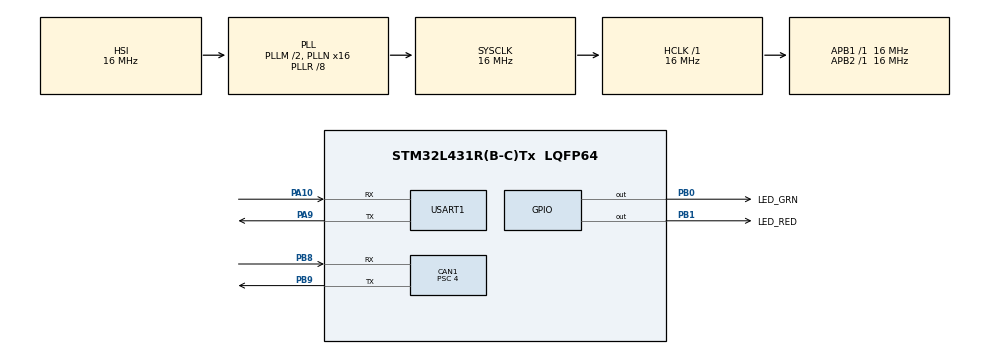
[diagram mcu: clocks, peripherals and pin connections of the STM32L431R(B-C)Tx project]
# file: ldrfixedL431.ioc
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CAN1.BS1=CAN_BS1_5TQ
CAN1.BS2=CAN_BS2_2TQ
CAN1.CalculateBaudRate=500000
CAN1.CalculateTimeBit=2000.00
CAN1.CalculateTimeQuantum=250.0
CAN1.NART=ENABLE
CAN1.Prescaler=4
CAN1.SJW=CAN_SJW_1TQ
CRC.InputDataFormat=CRC_INPUTDATA_FORMAT_WORDS
CRC.InputDataInversionMode=CRC_INPUTDATA_INVERSION_NONE
CRC.OutputDataInversionMode=CRC_OUTPUTDATA_INVERSION_DISABLE
Mcu.Family=STM32L4
Mcu.Name=STM32L431R(B-C)Tx
Mcu.Package=LQFP64
NVIC.CAN1_RX0_IRQn=true\:5\:0\:true\:false\:true\:true\:true
NVIC.CAN1_RX1_IRQn=true\:5\:0\:true\:false\:true\:true\:true
NVIC.CAN1_TX_IRQn=true\:5\:0\:true\:false\:true\:true\:true
NVIC.PriorityGroup=NVIC_PRIORITYGROUP_4
NVIC.TIM1_UP_TIM16_IRQn=true\:0\:0\:false\:false\:true\:false\:true
NVIC.TimeBase=TIM1_UP_TIM16_IRQn
NVIC.TimeBaseIP=TIM16
NVIC.USART1_IRQn=true\:8\:0\:true\:false\:true\:true\:true
PA10.Mode=Asynchronous
PA10.Signal=USART1_RX
PA9.Mode=Asynchronous
PA9.Signal=USART1_TX
PB0.GPIO_Label=LED_GRN
PB0.PinState=GPIO_PIN_SET
PB0.Signal=GPIO_Output
PB1.GPIO_Label=LED_RED
PB1.PinState=GPIO_PIN_SET
PB1.Signal=GPIO_Output
PB8.Mode=CAN_Activate
PB8.Signal=CAN1_RX
PB9.Mode=CAN_Activate
PB9.Signal=CAN1_TX
ProjectManager.HeapSize=0x200
ProjectManager.StackSize=0x400
ProjectManager.TargetToolchain=Makefile
RCC.ADCFreq_Value=16000000
RCC.AHBFreq_Value=16000000
RCC.APB1Freq_Value=16000000
RCC.APB1TimFreq_Value=16000000
RCC.APB2Freq_Value=16000000
RCC.APB2TimFreq_Value=16000000
RCC.CortexFreq_Value=16000000
RCC.HCLKFreq_Value=16000000
RCC.HSE_VALUE=8000000
RCC.HSI48_VALUE=48000000
RCC.HSI_VALUE=16000000
RCC.I2C1CLockSelection=RCC_I2C1CLKSOURCE_SYSCLK
RCC.LSE_VALUE=32768
RCC.MSIClockRange=RCC_MSIRANGE_7
RCC.MSI_VALUE=8000000
RCC.PLLM=2
RCC.PLLN=16
RCC.PLLR=RCC_PLLR_DIV8
RCC.PLLSAI1R=RCC_PLLR_DIV4
RCC.PLLSourceVirtual=RCC_PLLSOURCE_HSI
RCC.SYSCLKFreq_VALUE=16000000
RCC.SYSCLKSource=RCC_SYSCLKSOURCE_PLLCLK
RCC.USART1CLockSelection=RCC_USART1CLKSOURCE_HSI
RCC.VCOOutputFreq_Value=128000000
TIM15.Channel-Output\ Compare1\ No\ Output=TIM_CHANNEL_1
TIM15.Prescaler=16
USART1.VirtualMode-Asynchronous=VM_ASYNC
VP_CRC_VS_CRC.Mode=CRC_Activate
VP_SYS_VS_tim16.Mode=TIM16
VP_TIM15_VS_ClockSourceINT.Mode=Internal
VP_TIM15_VS_no_output1.Mode=Output Compare1 No Output
board=custom

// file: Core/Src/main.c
/* USER CODE BEGIN Header */
/**
  ******************************************************************************
  * @file           : main.c
  * @brief          : Main program body
  ******************************************************************************
  * @attention
  *
  * <h2><center>&copy; Copyright (c) 2022 STMicroelectronics.
  * All rights reserved.</center></h2>
  *
  * This software component is licensed by ST under BSD 3-Clause license,
  * the "License"; You may not use this file except in compliance with the
  * License. You may obtain a copy of the License at:
  *                        opensource.org/licenses/BSD-3-Clause
  *
  ******************************************************************************
  */
/* USER CODE END Header */
#include "main.h"

/* USER CODE BEGIN Includes */
#include <stdio.h>
#include <string.h>
#include "DTW_counter.h"
#include "system_reset.h"
#include "morse.h"
#include "canwinch_ldrproto.h"
#include "can_iface.h"
#include "canfilter_setup.h"

#include "crc-32_hw.h"
#include "crc-32_sw.h"

#include "crc-32_nib.h"
#include "crc-32_min.h"

extern uint32_t __appbegin;

#define SYSCLOCKFREQ 16000000

/* &&&&&&&&&&&&& Each node on the CAN bus gets a unit number &&&&&&&&&&&&&&&&&&&&&&&&&& */
#include "db/gen_db.h"
#define   IAMUNITNUMBER   CANID_UNIT_BMS03  /* Fixed loader (serial number concept) */
#define   BOARDTYPE   3   /* Board type (e.g. shaft encoder, manifold pressure, tension,... */
/* &&&&&&&&&&&&&&&&&&&&&&&&&&&&&&&&&&&&&&&&&&&&&&&&&&&&&&&&&&&&&&&&&&&&&&&&&&&&&&&&&&&& */

#if 0
/* Specify msg buffer and max useage for TX, RX0, and RX1. */
const struct CAN_INIT msginit = { \
96, /* Total number of msg blocks. */\
32, /* TX can use this huge ammount. */\
16, /* RX0 can use this many. */\
8 /* RX1 can use this piddling amount. */\
};

struct CAN_CTLBLOCK* pctl1;
#endif

/* USER CODE END Includes */

/* USER CODE BEGIN PTD */
 uint32_t flashblocksize1;
 uint32_t unique_id[3];
 uint32_t can_waitdelay_ct;
 uint32_t end_flash;
 uint16_t flashsize;
 uint8_t ldr_phase;

uint64_t binchksum;
uint32_t* papp_crc;
uint32_t* papp_chk;
uint32_t waitctr;
 uint8_t apperr;

 /* Milliseconds that prevents loop in main from jumping to app. */
extern int32_t squelch_ms;
extern uint8_t squelch_flag;
extern uint32_t dtwmsnext;

unsigned int ck;
uint32_t chkctr;

 struct CAN_CTLBLOCK* pctl0; // Pointer to CAN1 control block
//struct CAN_CTLBLOCK* pctl1; // Pointer to CAN2 control block

uint32_t debugTX1b;
uint32_t debugTX1b_prev;

uint32_t debugTX1c;
uint32_t debugTX1c_prev;

/* USER CODE END PTD */

CAN_HandleTypeDef hcan1;

CRC_HandleTypeDef hcrc;

TIM_HandleTypeDef htim15;

UART_HandleTypeDef huart1;

void SystemClock_Config(void);
static void MX_GPIO_Init(void);
static void MX_CAN1_Init(void);
static void MX_USART1_UART_Init(void);
static void MX_TIM15_Init(void);
static void MX_CRC_Init(void);
/* USER CODE BEGIN PFP */
char* buffer = "\n\rX ldrfixedL431 started 123";
/* USER CODE END PFP */

/* USER CODE BEGIN 0 */
#ifdef __GNUC__
#define PUTCHAR_PROTOTYPE int __io_putchar(int ch)
#else
#define PUTCHAR_PROTOTYPE int fputc(int ch, FILE *f)
#endif

PUTCHAR_PROTOTYPE
{
  HAL_UART_Transmit(&huart1, (uint8_t *)&ch, 1, HAL_MAX_DELAY);
  return ch;
}
/* USER CODE END 0 */

int main(void)
{
  /* USER CODE BEGIN 1 */
   volatile uint32_t dtw; // DTW time
/* --------------------- Type of RESET detection and dispatch ------------------------------------- */
  extern void* __appjump; // Defined in ldr.ld file
  /* Check type of RESET and set us on the correct journey. */
  uint32_t rcc_csr = RCC->CSR;  // Get reset flags
  RCC->CSR |= (1 << 23); // Bit 23 RMVF: Remove reset flag (prep for next RESET)
  if (rcc_csr & (1 << 29))  // Was it Independent watchdog reset flag?
  { // Here, yes. This should be the result of a valid load process

    /* Shift vector table to new position. */
    *(uint32_t*)ADDR_SCB_VTOR = 0x8000;

    __DSB(); // Data barrier sync, JIC

    /* Jump to app. */
    (*(  (void (*)(void))__appjump)  )(); // Indirect via label in .ld file
  }
  /* Here, not the IWDG flag, so printf some stuff and wait for possible download, before app jump. */

  /* USER CODE END 1 */

  /* MCU Configuration--------------------------------------------------------*/

  /* Reset of all peripherals, Initializes the Flash interface and the Systick. */
  HAL_Init();

  /* USER CODE BEGIN Init */
  apperr = 0;
  /* USER CODE END Init */

  /* Configure the system clock */
  SystemClock_Config();

  /* Initialize all configured peripherals */
  MX_GPIO_Init();
  MX_CAN1_Init();
  MX_USART1_UART_Init();
  MX_TIM15_Init();
  MX_CRC_Init();
  /* USER CODE BEGIN 2 */
  DTW_counter_init();

  /* CAN ID for this node is passed in to make from command line. */
  unsigned int i_am_canid = I_AM_CANID;

   printf("\n\n\n\r######### ldrfixedL431 STARTS 1, 0x%0X",i_am_canid);

/* Setup TX linked list for CAN  */
   // CAN1 (CAN_HandleTypeDef *phcan, uint8_t canidx, uint16_t numtx, uint16_t numrx);
  pctl0 = can_iface_init(&hcan1, 0, 16, 512);
  if (pctl0 == NULL) morse_trap(118); // Panic LED flashing
  if (pctl0->ret < 0) morse_trap(119);

  /* Setup CAN hardware filters to default to accept all ids. */
  HAL_StatusTypeDef Cret;
  Cret = canfilter_setup_first(0, &hcan1, 15); // CAN1
  if (Cret == HAL_ERROR) morse_trap(122);

/* @brief : Add a 32b id, advance bank number & odd/even
 * @param : cannum = CAN module number 1, 2, or 3
 * @param : phcan = Pointer to HAL CAN handle (control block)
 * @param : id    = 32b CAN id
 * @param : fifo  = fifo: 0 or 1
 * @return  : HAL_ERROR or HAL_OK  */
  Cret = canfilter_setup_add32b_id(1, &hcan1, i_am_canid, 0);
  if (Cret == HAL_ERROR) morse_trap(123);

      /* Select interrupts for CAN1 */
  HAL_CAN_ActivateNotification(&hcan1, \
    CAN_IT_TX_MAILBOX_EMPTY     |  \
    CAN_IT_RX_FIFO0_MSG_PENDING |  \
    CAN_IT_RX_FIFO1_MSG_PENDING    );

  #define DTW_INC_printf (1000 * 16000) // 16 MHz sysclock
  uint32_t DTW_next_LED = DTWTIME;
  #define DTW_INC_LED (250 * 16000)
  uint32_t DTW_next_printf = DTWTIME;

  unsigned int mctr = 0;
#if 0
  printf ("\n\rControl/status register (RCC_CSR) : %08x\n\r",(unsigned int)RCC->CSR);
  RCC->CSR |= (1 << 24);
  printf ("Control/status register (RCC_CSR) : %08x After RMVF written\n\r",(unsigned int)RCC->CSR);
  RCC->CSR |= (7 << 29);
  printf ("Control/status register (RCC_CSR) : %08x After LPWR written\n\r",(unsigned int)RCC->CSR);

  //uint64_t zz1 = 0x12345678ABCDEF01; // word order
  uint64_t zz1 = 0x1122334455667788;
  //uint64_t zz = 0x01efCDab78563412;  // byte order of zz1
  uint64_t zz = 0x8877665544332211;
  uint32_t ww[2] = {0x88776655,0x44332211};
  uint32_t wwa[2] = {0x44332211,0x88776655};
  //https://crccalc.com/
  uint8_t zzb[8] = {0x11, 0x22, 0x33, 0x44, 0x55, 0x66, 0x77, 0x88};

 #define PDATA (uint32_t*)0x08008000
  #define DLEN  100000

  printf("\n\rPDATA: 0x%08X DLEN: %5d\n\r",(unsigned int)PDATA,(unsigned int)DLEN);

 CRC->CR =0x01;
 HAL_CRC_Init(&hcrc);
  uint32_t t2;
  uint32_t t1 = DTWTIME;
  uint32_t crc3 = HAL_CRC_Calculate(&hcrc, PDATA, DLEN/4);
  uint32_t t2x = DTWTIME - t1;

  rc_crc32_hw_init();

  t1 = DTWTIME;
  uint32_t crc1 = rc_crc32_sw((uint8_t*)PDATA, DLEN); // CRC1: B9196C38 = web site
  t2 = DTWTIME - t1;
  printf("CRC1   sw rosetta: %08X  %08X %7d %6d\n\r",(unsigned int)crc1,(unsigned int)~crc1,(unsigned int)t2,(unsigned int)t2/16);

  t1 = DTWTIME;
  uint32_t crc2 = rc_crc32_hw(PDATA, DLEN/4);
  t2 = DTWTIME - t1;
  printf("CRC2   hw crc mod: %08X  %08X %7d %6d\n\r",(unsigned int)~crc2,(unsigned int)crc2,(unsigned int)t2,(unsigned int)t2/16);

  printf("CRC3 HAL CRC CALC: %08X  %08X %7d %6d\n\r",(unsigned int)crc3,(unsigned int)~crc3,(unsigned int)t2x,(unsigned int)t2x/16);

  t1 = DTWTIME;
  uint32_t crc4 = crc_32_nib_calc(PDATA, DLEN/4);
  t2 = DTWTIME - t1;
  printf("CRC4 nibble table: %08X  %08X %7d %6d\n\r",(unsigned int)crc4,(unsigned int)~crc4,(unsigned int)t2,(unsigned int)t2/16);

  t1 = DTWTIME;
  uint32_t crc5 = crc_32_min_calc(PDATA, DLEN/4);
  t2 = DTWTIME - t1;
  printf("CRC5 min,no table: %08X  %08X %7d %6d\n\r",(unsigned int)crc5,(unsigned int)~crc5,(unsigned int)t2,(unsigned int)t2/16);

  printf("\n\r");
//while(1==1);

#endif

  flashblocksize1 = 2048; //
  unique_id[0] = *(uint32_t*)(ADDR_UNIQUE_ID+0);
  unique_id[1] = *(uint32_t*)(ADDR_UNIQUE_ID+1);
  unique_id[2] = *(uint32_t*)(ADDR_UNIQUE_ID+2);
  flashsize = *(uint16_t*)ADDR_FLASH_SIZE;
  end_flash = flashsize*1024 + 0x08000000;
  printf("\n\rUnique ID : %08X%08X%08X",(unsigned int)unique_id[0],(unsigned int)unique_id[1],(unsigned int)unique_id[2]);
  printf("\n\rFlash size:     %uK\n\r",(unsigned int)flashsize);
  printf("\n\rEnd addr  :    0x%08X end_flash\n\r",(unsigned int)end_flash);

  /* ----------------------- Header for columns of CAN error printf ------------------------------------- */
//canwinch_pod_common_systick2048_printerr_header();
/* ---------------- When CAN interrupts are enabled reception of msgs begins! ------------------------ */
//  can_msg_reset_init(pctl1, IAMUNITNUMBER); // Specify CAN ID for this unit for msg caused RESET

// RX msgs begin immediately following enabling CAN interrupts.  Get 'peek' 'toss' of RX msgs going soon.
//  can_driver_enable_interrupts(); // Enable CAN interrupts
/* -------------- Get the program loader stuff setup -------------------------------------- */
//  canwinch_ldrproto_init(IAMUNITNUMBER);
  canwinch_ldrproto_init(i_am_canid);

//  uint32_t* pcrcblk = (uint32_t*)((uint32_t)((uint8_t*)*&__appjump + 7 + 0)); // First table entry = number of crcblocks
//  printf(  "(uint32_t)*pcrcblk: %08X\n\r", (unsigned int)*pcrcblk++ );

//  uint32_t flashincrement = SYSCLOCKFREQ/6;

  // for debug multipy the increment to give the hapless Op time to think
  can_waitdelay_ct = (DTWTIME + 1*SYSCLOCKFREQ); // Time duration between heartbeat CAN msgs while waiting

 // printf("\n\r\nAddresses: &__appjump %08X   __appjump %08X\n\r",(unsigned int)&__appjump,(unsigned int)__appjump);

  /* ----------------- CRC|checksum check of application. ---------------------------------- */
  // Get addresses
  unsigned int app_entry_tmp = (unsigned int)__appjump & ~1L;
//  printf("app_entry_tmp: %08X\n\r",app_entry_tmp);
//  uint32_t* papp_entry = (uint32_t*)((uint32_t)(*(uint32_t**)__appjump) & ~1L);
  uint32_t* papp_entry = (uint32_t*)app_entry_tmp;
  if ((papp_entry >= (uint32_t*)(&__appbegin + (flashsize*1024))) || (papp_entry < (uint32_t*)&__appbegin))
  { // Here bogus address (which could crash processor)
    apperr |= APPERR_APP_ENTRY_OOR;
//    printf("papp_entry err: %08X %08X %08X\n\r",(unsigned int)papp_entry,(unsigned int)(&__appbegin + (flashsize*1024)),
//      (unsigned int)&__appbegin);
  }
  else
  {
    printf("App addr entry: %08X\n\r",(unsigned int)papp_entry);

    papp_crc = *(uint32_t**)(papp_entry-1);
    if ((papp_crc >= (uint32_t*)(&__appbegin + (flashsize*1024))) || (papp_crc < (uint32_t*)&__appbegin))
    {
     apperr |= APPERR_APP_CRC_ADDR;
    }
    else
    {
     printf("App addr   crc: %08X App crc  %08X\n\r",(unsigned int)papp_crc,*(unsigned int*)papp_crc);
    }

    papp_chk =  (uint32_t*)(*(uint32_t**)(papp_entry-1)+1);
    if ((papp_chk >= (uint32_t*)(&__appbegin + (flashsize*1024))) || (papp_chk < (uint32_t*)&__appbegin))
    {
     apperr |= APPERR_APP_CHK_ADDR;
    }
    else
    {
      printf("App addr   chk: %08X App chk  %08X\n\r",(unsigned int)papp_chk,*(unsigned int*)papp_chk);
    }
  }
  if (apperr == 0)
  { // Here, no addresses were out-of-range. Check CRC and checksum
    uint32_t* p = (uint32_t*)&__appbegin; // Point to beginning of app flash
    binchksum   = 0; // Checksum init
    chkctr      = 0;
    /* Bit 12 CRCEN: CRC clock enable */
    RCC->AHB1ENR |= RCC_AHB1ENR_CRCEN;
    /* Reset sets polynomial to 0x04C11DB7 and INIT to 0xFFFFFFFF */
    CRC->CR = 0x01; // 32b poly, + reset CRC computation
    while (p < (uint32_t*)papp_crc)
    {
      *(__IO uint32_t*)CRC_BASE = *p;
      binchksum += *p;
      p += 1;
      chkctr += 4;
    }
    ck = CRC->DR;
    // Wrap 64b sum into 32b word
    uint32_t tmp  = (binchksum >> 32);
    binchksum = (binchksum & 0xffffffff) + tmp;
    tmp  = (binchksum >> 32);
    binchksum = (binchksum & 0xffffffff) + tmp;
//    printf("CHK CTR: 0x%08X %d\n\r",(unsigned int)chkctr,(unsigned int)chkctr);
  }
// printf("checksum: 0x%08X CRC-32: 0x%08X\n\r",(unsigned int)binchksum,ck);

//  uint32_t hwcrc = rc_crc32_hw((uint32_t*)&__appbegin, chkctr/4);
//  printf("hw  crc: 0x%08X\n\r",~(unsigned int)hwcrc);

  /* Do the CRCs and Checksums match? */
  if (*(uint32_t*)papp_crc != ck)
  {
    apperr |= APPERR_APP_CRC_NE;
    printf("CRC ERR: 0x%08x 0x%08x\n\r",(unsigned int)ck,*(unsigned int*)papp_crc);
  }
  if (*(uint32_t*)(papp_crc+1) != binchksum)
  {
    apperr |= APPERR_APP_CHK_NE;
    printf("CHK ERR: 0x%08x 0x%08x\n\r",(unsigned int)binchksum,*(unsigned int*)(papp_crc+1));
  }

  HAL_CAN_Start(&hcan1); // CAN1
  waitctr = 0;

  /* USER CODE END 2 */

  /* Infinite loop */
  while (1)
  {

    /* USER CODE BEGIN 3 */
//    HAL_Delay(1000);

    /* Time how long squelch will be in effect. */
    if ((squelch_flag != 0) && ((int32_t)(DTWTIME - dtwmsnext) > 0))
    { // Here, CAN msg set squelch and time duration
      dtwmsnext += SYSCLOCKFREQ/10; // 100 ms steps
      squelch_ms -= 100;
      if (squelch_ms <= 0)
      {
        squelch_flag = 0;
      }
    }

    if ((int32_t)(DTWTIME - DTW_next_printf) > 0)
    {
      DTW_next_printf = DTW_next_printf + DTW_INC_printf;
      if (ldr_phase == 0)
      {
        printf("\n\r%5u ldrfixedL431 waiting",mctr++);
      }
    }

    /* LED blinking */
    if ((int32_t)(DTWTIME - DTW_next_LED) > 0)
    {
      DTW_next_LED = DTW_next_LED + DTW_INC_LED;
      if ((GPIOB->ODR & (1<<1)) == 0)
           GPIOB->BSRR = (1<<1);
      else
           GPIOB->BSRR = (1<<(1+16));
    }

    /* Do loader'ing, if there are applicable msgs. */
    canwinch_ldrproto_poll(i_am_canid); // Filter CAN id

    /* Have we written to flash?  If so, don't jump to the the app unless commanded. */
    if (ldr_phase == 0)
    { // Here, we haven't done anything to disturb the integrity of the app
      if (  ((int)can_waitdelay_ct - (int)(DTWTIME)) < 0 )
      { // We timed out.
        can_waitdelay_ct = (DTWTIME + 1*SYSCLOCKFREQ);
        waitctr += 1;
        if (waitctr < 5)
        { // Here, send a heartbeat CAN msg with status
printf("wait %d:",(unsigned int)waitctr);
          if (squelch_flag == 0)
          {
            sendcanCMD_PAY1(CMD_CMD_HEARTBEAT,apperr);
          }
        }
        else
        { // Here, timed out. Either jump to app, or reset
          if ((apperr != 0) && (squelch_flag == 0))
          { // Here app does not pass checks: jump address, crc and/or checksum mismatch
  //          printf("\n\r\n#### At offset %08X address %08X is bogus ####\n\r\n",(unsigned int)&__appjump, (unsigned int)__appjump);
   //         dtw = (DTWTIME + (SYSCLOCKFREQ/2)); // Wait 1/2 sec for printf to complete
     //       while (  ((int)dtw - (int)(DTWTIME)) > 0 );
            system_reset(); // Software reset
            // system_reset never returns
          }
          // Here, no apperr.
          dtw = (DTWTIME + (SYSCLOCKFREQ/2)); // Wait 1/2 sec for printf to complete
          while (  ((int)dtw - (int)(DTWTIME)) > 0 );
          /* Set Indpendent Watch Dog and let it cause a reset. */
          RCC->CSR |= (1<<0);   // LSI enable, necessary for IWDG
          while ((RCC->CSR & (1<<1)) == 0);  // wait till LSI is ready
            IWDG->KR  = 0x5555; // enable write to PR, RLR
            IWDG->PR  = 0;      // Init prescaler
            IWDG->RLR = 0x02;   // Init RLR
            IWDG->KR  = 0xAAAA; // Reload the watchdog
            IWDG->KR  = 0xCCCC; // Start the watchdog
          while (1==1);
        }
      }
    }
  }
  /* USER CODE END 3 */
}

void SystemClock_Config(void)
{
  RCC_OscInitTypeDef RCC_OscInitStruct = {0};
  RCC_ClkInitTypeDef RCC_ClkInitStruct = {0};

  /** Configure the main internal regulator output voltage
  */
  if (HAL_PWREx_ControlVoltageScaling(PWR_REGULATOR_VOLTAGE_SCALE1) != HAL_OK)
  {
    Error_Handler();
  }
  /** Initializes the RCC Oscillators according to the specified parameters
  * in the RCC_OscInitTypeDef structure.
  */
  RCC_OscInitStruct.OscillatorType = RCC_OSCILLATORTYPE_HSI;
  RCC_OscInitStruct.HSIState = RCC_HSI_ON;
  RCC_OscInitStruct.HSICalibrationValue = RCC_HSICALIBRATION_DEFAULT;
  RCC_OscInitStruct.PLL.PLLState = RCC_PLL_ON;
  RCC_OscInitStruct.PLL.PLLSource = RCC_PLLSOURCE_HSI;
  RCC_OscInitStruct.PLL.PLLM = 2;
  RCC_OscInitStruct.PLL.PLLN = 16;
  RCC_OscInitStruct.PLL.PLLP = RCC_PLLP_DIV7;
  RCC_OscInitStruct.PLL.PLLQ = RCC_PLLQ_DIV2;
  RCC_OscInitStruct.PLL.PLLR = RCC_PLLR_DIV8;
  if (HAL_RCC_OscConfig(&RCC_OscInitStruct) != HAL_OK)
  {
    Error_Handler();
  }
  /** Initializes the CPU, AHB and APB buses clocks
  */
  RCC_ClkInitStruct.ClockType = RCC_CLOCKTYPE_HCLK|RCC_CLOCKTYPE_SYSCLK
                              |RCC_CLOCKTYPE_PCLK1|RCC_CLOCKTYPE_PCLK2;
  RCC_ClkInitStruct.SYSCLKSource = RCC_SYSCLKSOURCE_PLLCLK;
  RCC_ClkInitStruct.AHBCLKDivider = RCC_SYSCLK_DIV1;
  RCC_ClkInitStruct.APB1CLKDivider = RCC_HCLK_DIV1;
  RCC_ClkInitStruct.APB2CLKDivider = RCC_HCLK_DIV1;

  if (HAL_RCC_ClockConfig(&RCC_ClkInitStruct, FLASH_LATENCY_0) != HAL_OK)
  {
    Error_Handler();
  }
}

static void MX_CAN1_Init(void)
{

  hcan1.Instance = CAN1;
  hcan1.Init.Prescaler = 4;
  hcan1.Init.Mode = CAN_MODE_NORMAL;
  hcan1.Init.SyncJumpWidth = CAN_SJW_1TQ;
  hcan1.Init.TimeSeg1 = CAN_BS1_5TQ;
  hcan1.Init.TimeSeg2 = CAN_BS2_2TQ;
  hcan1.Init.TimeTriggeredMode = DISABLE;
  hcan1.Init.AutoBusOff = DISABLE;
  hcan1.Init.AutoWakeUp = DISABLE;
  hcan1.Init.AutoRetransmission = ENABLE;
  hcan1.Init.ReceiveFifoLocked = DISABLE;
  hcan1.Init.TransmitFifoPriority = DISABLE;
  if (HAL_CAN_Init(&hcan1) != HAL_OK)
  {
    Error_Handler();
  }

}

static void MX_CRC_Init(void)
{

  hcrc.Instance = CRC;
  hcrc.Init.DefaultPolynomialUse = DEFAULT_POLYNOMIAL_ENABLE;
  hcrc.Init.DefaultInitValueUse = DEFAULT_INIT_VALUE_ENABLE;
  hcrc.Init.InputDataInversionMode = CRC_INPUTDATA_INVERSION_NONE;
  hcrc.Init.OutputDataInversionMode = CRC_OUTPUTDATA_INVERSION_DISABLE;
  hcrc.InputDataFormat = CRC_INPUTDATA_FORMAT_WORDS;
  if (HAL_CRC_Init(&hcrc) != HAL_OK)
  {
    Error_Handler();
  }

}

static void MX_TIM15_Init(void)
{

  TIM_ClockConfigTypeDef sClockSourceConfig = {0};
  TIM_MasterConfigTypeDef sMasterConfig = {0};
  TIM_OC_InitTypeDef sConfigOC = {0};
  TIM_BreakDeadTimeConfigTypeDef sBreakDeadTimeConfig = {0};

  htim15.Instance = TIM15;
  htim15.Init.Prescaler = 16;
  htim15.Init.CounterMode = TIM_COUNTERMODE_UP;
  htim15.Init.Period = 65535;
  htim15.Init.ClockDivision = TIM_CLOCKDIVISION_DIV1;
  htim15.Init.RepetitionCounter = 0;
  htim15.Init.AutoReloadPreload = TIM_AUTORELOAD_PRELOAD_DISABLE;
  if (HAL_TIM_Base_Init(&htim15) != HAL_OK)
  {
    Error_Handler();
  }
  sClockSourceConfig.ClockSource = TIM_CLOCKSOURCE_INTERNAL;
  if (HAL_TIM_ConfigClockSource(&htim15, &sClockSourceConfig) != HAL_OK)
  {
    Error_Handler();
  }
  if (HAL_TIM_OC_Init(&htim15) != HAL_OK)
  {
    Error_Handler();
  }
  sMasterConfig.MasterOutputTrigger = TIM_TRGO_RESET;
  sMasterConfig.MasterSlaveMode = TIM_MASTERSLAVEMODE_DISABLE;
  if (HAL_TIMEx_MasterConfigSynchronization(&htim15, &sMasterConfig) != HAL_OK)
  {
    Error_Handler();
  }
  sConfigOC.OCMode = TIM_OCMODE_TIMING;
  sConfigOC.Pulse = 0;
  sConfigOC.OCPolarity = TIM_OCPOLARITY_HIGH;
  sConfigOC.OCNPolarity = TIM_OCNPOLARITY_HIGH;
  sConfigOC.OCFastMode = TIM_OCFAST_DISABLE;
  sConfigOC.OCIdleState = TIM_OCIDLESTATE_RESET;
  sConfigOC.OCNIdleState = TIM_OCNIDLESTATE_RESET;
  if (HAL_TIM_OC_ConfigChannel(&htim15, &sConfigOC, TIM_CHANNEL_1) != HAL_OK)
  {
    Error_Handler();
  }
  sBreakDeadTimeConfig.OffStateRunMode = TIM_OSSR_DISABLE;
  sBreakDeadTimeConfig.OffStateIDLEMode = TIM_OSSI_DISABLE;
  sBreakDeadTimeConfig.LockLevel = TIM_LOCKLEVEL_OFF;
  sBreakDeadTimeConfig.DeadTime = 0;
  sBreakDeadTimeConfig.BreakState = TIM_BREAK_DISABLE;
  sBreakDeadTimeConfig.BreakPolarity = TIM_BREAKPOLARITY_HIGH;
  sBreakDeadTimeConfig.AutomaticOutput = TIM_AUTOMATICOUTPUT_DISABLE;
  if (HAL_TIMEx_ConfigBreakDeadTime(&htim15, &sBreakDeadTimeConfig) != HAL_OK)
  {
    Error_Handler();
  }

}

static void MX_USART1_UART_Init(void)
{

  huart1.Instance = USART1;
  huart1.Init.BaudRate = 115200;
  huart1.Init.WordLength = UART_WORDLENGTH_8B;
  huart1.Init.StopBits = UART_STOPBITS_1;
  huart1.Init.Parity = UART_PARITY_NONE;
  huart1.Init.Mode = UART_MODE_TX_RX;
  huart1.Init.HwFlowCtl = UART_HWCONTROL_NONE;
  huart1.Init.OverSampling = UART_OVERSAMPLING_16;
  huart1.Init.OneBitSampling = UART_ONE_BIT_SAMPLE_DISABLE;
  huart1.AdvancedInit.AdvFeatureInit = UART_ADVFEATURE_NO_INIT;
  if (HAL_UART_Init(&huart1) != HAL_OK)
  {
    Error_Handler();
  }

}

static void MX_GPIO_Init(void)
{
  GPIO_InitTypeDef GPIO_InitStruct = {0};

  /* GPIO Ports Clock Enable */
  __HAL_RCC_GPIOB_CLK_ENABLE();
  __HAL_RCC_GPIOA_CLK_ENABLE();

  /*Configure GPIO pin Output Level */
  HAL_GPIO_WritePin(GPIOB, LED_GRN_Pin|LED_RED_Pin, GPIO_PIN_SET);

  /*Configure GPIO pins : LED_GRN_Pin LED_RED_Pin */
  GPIO_InitStruct.Pin = LED_GRN_Pin|LED_RED_Pin;
  GPIO_InitStruct.Mode = GPIO_MODE_OUTPUT_PP;
  GPIO_InitStruct.Pull = GPIO_NOPULL;
  GPIO_InitStruct.Speed = GPIO_SPEED_FREQ_LOW;
  HAL_GPIO_Init(GPIOB, &GPIO_InitStruct);

}

void HAL_TIM_PeriodElapsedCallback(TIM_HandleTypeDef *htim)
{
  if (htim->Instance == TIM16) {
    HAL_IncTick();
  }
}

void Error_Handler(void)
{
  __disable_irq();
  while (1)
  {
  }
}

/************************ (C) COPYRIGHT STMicroelectronics *****END OF FILE****/
